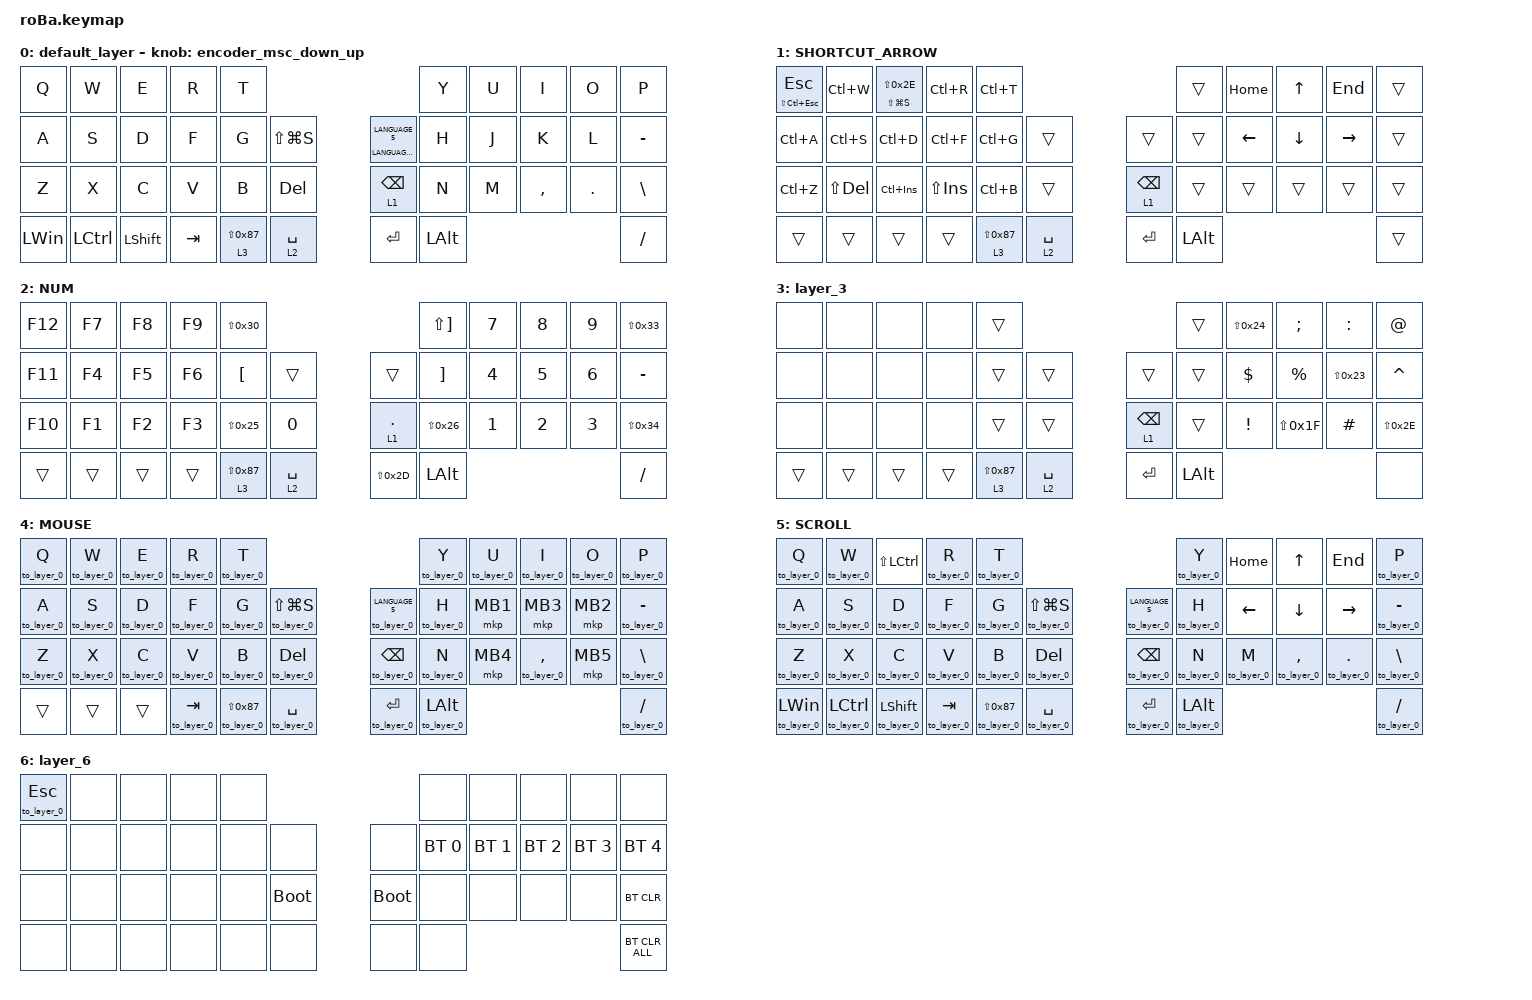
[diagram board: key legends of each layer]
#include <behaviors.dtsi>
#include <dt-bindings/zmk/bt.h>
#include <dt-bindings/zmk/keys.h>
#include <dt-bindings/zmk/pointing.h>

#define ZMK_POINTING_DEFAULT_SCRL_VAL 80
#define DOUBLE_QUOTES      LS(0x1F)  // " ← @
#define AMPERSAND          LS(0x23)  // & ← ^
#define SINGLE_QUOTE       LS(0x24)  // ' ← &
#define LEFT_PARENTHESIS   LS(0x25)  // ( ← *
#define RIGHT_PARENTHESIS  LS(0x26)  // ) ← (
#define EQUAL              LS(0x2D)  // = ← _
#define CARET              0x2E      // ^ ← =
#define TILDE              LS(0x2E)  // ~ ← +
#define AT_SIGN            0x2F      // @ ← [
#define GRAVE              LS(0x2F)  // ` ← {
#define LEFT_BRACKET       0x30      // [ ← ]
#define LEFT_BRACE         LS(0x30)  // { ← }
#define RIGHT_BRACKET      0x31      // ] ← \

// #define RIGHT_BRACE        LS(0x31)  // } ← |
// } の入れ替えが正常動作しないため、コメントアウト

#define PLUS               LS(0x33)  // + ← :
#define COLON              0x34      // : ← '
#define ASTERISK           LS(0x34)  // * ← "
#define LANGUAGE_5         0x35      // 半角/全角 ← `
#define UNDERSCORE         LS(0x87)  // _ ←
#define BACKSLASH          0x89      // ¥ ←
#define PIPE               LS(0x89)  // | ←
#define LANGUAGE_4         0x90      // ひらがな ← LANG1

&mt {
    flavor = "balanced";
    quick-tap-ms = <0>;
};

&trackball {
    automouse-layer = <4>;
    scroll-layers = <5>;

    // arrows {
    //     layers = <3>;
    //     bindings =
    //         <&kp RIGHT_ARROW>,
    //         <&kp LEFT_ARROW>,
    //         <&kp UP_ARROW>,
    //         <&kp DOWN_ARROW>;
    //     tick = <10>;
    //     wait-ms = <5>;
    //     tap-ms = <5>;
    // };
};

/ {
    combos {
        compatible = "zmk,combos";

        Layer_6 {
            bindings = <&mo 6>;
            key-positions = <0 9 39 40>;
        };

        SCROLL {
            bindings = <&mo 5>;
            key-positions = <0 1>;
        };
    };

    macros {
        to_layer_0: to_layer_0 {
            compatible = "zmk,behavior-macro-one-param";
            #binding-cells = <1>;
            bindings = <&to 0 &macro_param_1to1 &kp MACRO_PLACEHOLDER>;
            label = "TO_LAYER_0";
        };
    };

    behaviors {
        lt_to_layer_0: lt_to_layer_0 {
            compatible = "zmk,behavior-hold-tap";
            label = "LAYER_TAP_TO_0";
            bindings = <&mo>, <&to_layer_0>;

            #binding-cells = <2>;
            tapping-term-ms = <200>;
        };

        encoder_msc_down_up: encoder_msc_down_up {
            compatible = "zmk,behavior-sensor-rotate";
            label = "ENCODER_MSC_DOWN_UP";
            #sensor-binding-cells = <0>;
            bindings = <&msc SCRL_DOWN>, <&msc SCRL_UP>;

            tap-ms = <20>;
        };
    };

    keymap {
        compatible = "zmk,keymap";

        default_layer {
            bindings = <
&kp Q         &kp W      &kp E       &kp R    &kp T                                                                    &kp Y         &kp U  &kp I      &kp O       &kp P
&kp A         &kp S      &kp D       &kp F    &kp G             &kp LS(LG(S))               &mt LANGUAGE_4 LANGUAGE_5  &kp H         &kp J  &kp K      &kp L       &kp MINUS
&kp Z         &kp X      &kp C       &kp V    &kp B             &kp DELETE                  &lt 1 BACKSPACE            &kp N         &kp M  &kp COMMA  &kp PERIOD  &kp BACKSLASH
&kp LEFT_WIN  &kp LCTRL  &kp LSHIFT  &kp TAB  &lt 3 UNDERSCORE  &lt_to_layer_0 2 SPACE      &kp ENTER                  &kp LEFT_ALT                                &kp SLASH
            >;

            sensor-bindings = <&encoder_msc_down_up>;
        };

        SHORTCUT_ARROW {
            bindings = <
&mt LS(LC(ESCAPE)) ESC  &kp LC(W)       &mt LS(LG(S)) TILDE  &kp LC(R)       &kp LC(T)                                                      &trans        &kp HOME        &kp UP_ARROW    &kp END          &trans
&kp LC(A)               &kp LC(S)       &kp LC(D)            &kp LC(F)       &kp LC(G)         &trans                      &trans           &trans        &kp LEFT_ARROW  &kp DOWN_ARROW  &kp RIGHT_ARROW  &trans
&kp LC(Z)               &kp LS(DELETE)  &kp LC(INSERT)       &kp LS(INSERT)  &kp LC(B)         &trans                      &lt 1 BACKSPACE  &trans        &trans          &trans          &trans           &trans
&trans                  &trans          &trans               &trans          &lt 3 UNDERSCORE  &lt_to_layer_0 2 SPACE      &kp ENTER        &kp LEFT_ALT                                                   &trans
            >;
        };

        NUM {
            bindings = <
&kp F12  &kp F7  &kp F8  &kp F9  &kp LEFT_BRACE                                                  &kp LS(RIGHT_BRACKET)  &kp NUMBER_7  &kp NUMBER_8  &kp NUMBER_9  &kp PLUS
&kp F11  &kp F4  &kp F5  &kp F6  &kp LEFT_BRACKET      &trans                      &trans        &kp RIGHT_BRACKET      &kp NUMBER_4  &kp NUMBER_5  &kp NUMBER_6  &kp MINUS
&kp F10  &kp F1  &kp F2  &kp F3  &kp LEFT_PARENTHESIS  &kp NUMBER_0                &lt 1 PERIOD  &kp RIGHT_PARENTHESIS  &kp NUMBER_1  &kp NUMBER_2  &kp NUMBER_3  &kp ASTERISK
&trans   &trans  &trans  &trans  &lt 3 UNDERSCORE      &lt_to_layer_0 2 SPACE      &kp EQUAL     &kp LEFT_ALT                                                     &kp SLASH
            >;
        };

        layer_3 {
            bindings = <
&none   &none   &none   &none   &trans                                                         &trans        &kp SINGLE_QUOTE  &kp SEMICOLON      &kp COLON      &kp AT_SIGN
&none   &none   &none   &none   &trans            &trans                      &trans           &trans        &kp DOLLAR        &kp PERCENT        &kp AMPERSAND  &kp CARET
&none   &none   &none   &none   &trans            &trans                      &lt 1 BACKSPACE  &trans        &kp EXCLAMATION   &kp DOUBLE_QUOTES  &kp HASH       &kp TILDE
&trans  &trans  &trans  &trans  &lt 3 UNDERSCORE  &lt_to_layer_0 2 SPACE      &kp ENTER        &kp LEFT_ALT                                                      &none
            >;
        };

        MOUSE {
            bindings = <
&to_layer_0 Q  &to_layer_0 W  &to_layer_0 E  &to_layer_0 R    &to_layer_0 T                                                              &to_layer_0 Y         &to_layer_0 U  &to_layer_0 I      &to_layer_0 O  &to_layer_0 P
&to_layer_0 A  &to_layer_0 S  &to_layer_0 D  &to_layer_0 F    &to_layer_0 G           &to_layer_0 LS(LG(S))      &to_layer_0 LANGUAGE_5  &to_layer_0 H         &mkp MB1       &mkp MB3           &mkp MB2       &to_layer_0 MINUS
&to_layer_0 Z  &to_layer_0 X  &to_layer_0 C  &to_layer_0 V    &to_layer_0 B           &to_layer_0 DELETE         &to_layer_0 BACKSPACE   &to_layer_0 N         &mkp MB4       &to_layer_0 COMMA  &mkp MB5       &to_layer_0 BACKSLASH
&trans         &trans         &trans         &to_layer_0 TAB  &to_layer_0 UNDERSCORE  &to_layer_0 SPACE          &to_layer_0 ENTER       &to_layer_0 LEFT_ALT                                                   &to_layer_0 SLASH
            >;
        };

        SCROLL {
            bindings = <
&to_layer_0 Q         &to_layer_0 W      &kp LS(LCTRL)           &to_layer_0 R    &to_layer_0 T                                                              &to_layer_0 Y         &kp HOME        &kp UP_ARROW       &kp END             &to_layer_0 P
&to_layer_0 A         &to_layer_0 S      &to_layer_0 D           &to_layer_0 F    &to_layer_0 G           &to_layer_0 LS(LG(S))      &to_layer_0 LANGUAGE_5  &to_layer_0 H         &kp LEFT_ARROW  &kp DOWN_ARROW     &kp RIGHT_ARROW     &to_layer_0 MINUS
&to_layer_0 Z         &to_layer_0 X      &to_layer_0 C           &to_layer_0 V    &to_layer_0 B           &to_layer_0 DELETE         &to_layer_0 BACKSPACE   &to_layer_0 N         &to_layer_0 M   &to_layer_0 COMMA  &to_layer_0 PERIOD  &to_layer_0 BACKSLASH
&to_layer_0 LEFT_WIN  &to_layer_0 LCTRL  &to_layer_0 LEFT_SHIFT  &to_layer_0 TAB  &to_layer_0 UNDERSCORE  &to_layer_0 SPACE          &to_layer_0 ENTER       &to_layer_0 LEFT_ALT                                                         &to_layer_0 SLASH
            >;
        };

        layer_6 {
            bindings = <
&to_layer_0 ESCAPE  &none  &none  &none  &none                                &none         &none         &none         &none         &none
&none               &none  &none  &none  &none  &none            &none        &bt BT_SEL 0  &bt BT_SEL 1  &bt BT_SEL 2  &bt BT_SEL 3  &bt BT_SEL 4
&none               &none  &none  &none  &none  &bootloader      &bootloader  &none         &none         &none         &none         &bt BT_CLR
&none               &none  &none  &none  &none  &none            &none        &none                                                   &bt BT_CLR_ALL
            >;
        };
    };
};
